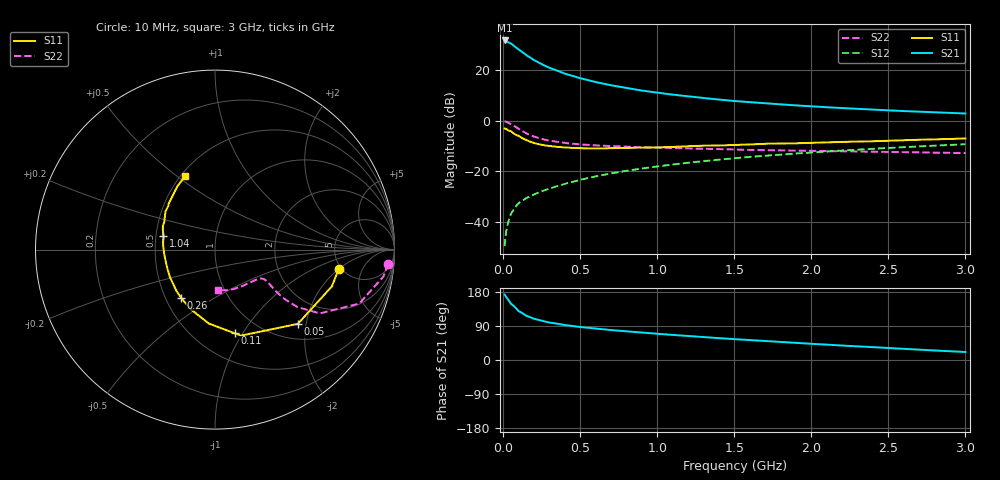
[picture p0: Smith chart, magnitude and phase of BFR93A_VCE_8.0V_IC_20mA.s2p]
! Infineon Technologies  Discrete & RF Semiconductors
! BFR93A
! VCE =  8.0 V,  IC =  20 mA
! Common Emitter S-Parameters:  Nov 2015
# GHz  S  MA  R  50
!  f  S11  S21  S12  S22
! GHz  MAG  ANG  MAG  ANG  MAG  ANG  MAG  ANG
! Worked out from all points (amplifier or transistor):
!   180 points, 10 MHz to 3 GHz, reference 50 ohm
!   highest |S21| = 31.6 dB at 10 MHz (marker M1)
!   |S21| within 3 dB of that: start of sweep to 88.8 MHz
!   unconditionally stable (mu >= 1): 464.1 MHz to 2.63 GHz
!   at 160 MHz: K = 0.66, MSG = 27.9 dB, |S12| = -30.4 dB
!   at 1.22 GHz: K = 1.08, MAG = 11.3 dB, |S12| = -16.5 dB
!   at 3 GHz: K = 0.97, MSG = 6.1 dB, |S12| = -9.4 dB
!   S11 on the Smith chart (normalised r, x): 10 MHz: 4.74, -2.00; 50 MHz: 1.33, -1.79; 110 MHz: 0.76, -0.92; 260 MHz: 0.60, -0.36; 1.04 GHz: 0.55, +0.09; 3 GHz: 0.53, +0.54
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0.01  0.6977 -8.9  38.2 172.6  0.0033 85.4  0.9665 -4.7
0.02  0.6826 -17.5  37.39 166.3  0.0064 79.4  0.9503 -9.1
0.05  0.6197 -41.9  33.46 149.0  0.0141 72.4  0.8586 -20.5
0.1  0.5006 -73.2  25.61 129.1  0.0232 64.1  0.6844 -31.3
0.11  0.4783 -76.8  24.34 127.1  0.0244 63.6  0.6593 -31.9
0.15  0.4133 -94.8  19.66 116.7  0.0292 62.0  0.5598 -34.9
0.2  0.3612 -110.9  15.71 108.9  0.0346 62.7  0.4828 -35.4
0.24  0.336 -120.9  13.51 104.4  0.0389 63.3  0.4429 -35.0
0.26  0.3275 -125.4  12.58 102.4  0.041 63.7  0.4264 -34.7
0.3  0.315 -132.9  11.04 98.9  0.0451 64.7  0.4003 -34.0
0.4  0.2945 -148.4  8.445 92.2  0.056 66.8  0.3599 -32.3
0.52  0.2837 -162.1  6.637 86.3  0.0696 67.7  0.3352 -31.2
0.6  0.2821 -169.4  5.767 82.9  0.0788 68.2  0.3229 -31.0
0.7  0.2843 -175.9  4.977 79.0  0.0901 68.1  0.3126 -31.3
0.9  0.2924 171.9  3.915 72.5  0.1128 67.7  0.2972 -32.9
1.02  0.2957 166.1  3.488 68.6  0.1264 66.9  0.2911 -34.3
1.04  0.2969 165.4  3.428 68.1  0.1287 66.7  0.2899 -34.7
1.3  0.3191 155.5  2.786 60.4  0.1578 64.7  0.2769 -39.1
1.52  0.3302 148.0  2.407 54.5  0.1823 62.8  0.2667 -43.5
2.02  0.365 134.5  1.89 42.4  0.2359 57.9  0.2513 -55.2
2.52  0.4017 122.7  1.581 31.3  0.2895 52.5  0.2395 -69.0
3  0.4427 112.0  1.378 21.1  0.3407 47.2  0.2276 -85.8
